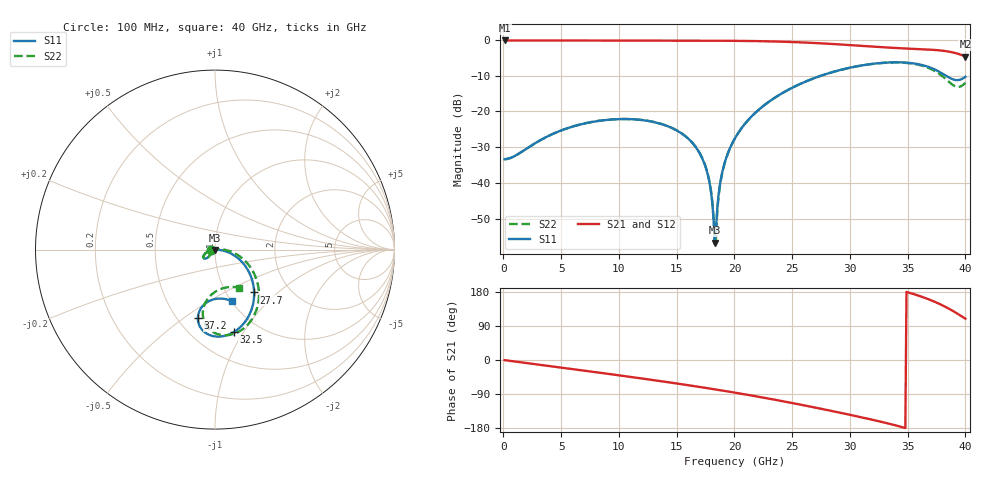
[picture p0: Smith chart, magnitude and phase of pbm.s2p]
! A_s4_d300_ap800: physics-based via model (prototype), ports at the via
# Hz S RI R 50
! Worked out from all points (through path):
!   400 points, 100 MHz to 40 GHz, reference 50 ohm
!   highest |S21| = -0.19 dB at 100 MHz (marker M1); lowest = -4.7 dB at 40 GHz (marker M2)
!   group delay of S21, straight-line fit = 15.4 ps
!   lowest |S11| = -56.6 dB at 18.3 GHz (marker M3), VSWR 1.00, Z = 50 - j0.142 ohm
!   |S11| at or under -10 dB: start of sweep to 27.52 GHz; 38.3 GHz to end of sweep
!   |S22| runs from -57.6 to -6.3 dB; largest |S21 - S12| = 0
!   S11 on the Smith chart (normalised r, x): 100 MHz: 0.96, -0.00; 27.7 GHz: 1.34, -0.71; 32.5 GHz: 0.77, -0.91; 37.2 GHz: 0.63, -0.57; 40 GHz: 1.01, -0.64
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1e8  -0.0215 -0.000937  0.9785 -0.00682  0.9785 -0.00682  -0.0215 -0.000946
6.8e9  -0.0463 -0.048  0.8677 -0.4474  0.8677 -0.4474  -0.0455 -0.049
1.34e10  -0.0619 -0.0299  0.5605 -0.7964  0.5605 -0.7964  -0.0612 -0.0319
1.57e10  -0.0438 -0.0135  0.4093 -0.8829  0.4093 -0.8829  -0.0438 -0.0144
1.72e10  -0.0219 -0.0048  0.2986 -0.9251  0.2986 -0.9251  -0.0223 -0.00414
1.77e10  -0.0127 -0.00285  0.2596 -0.9362  0.2596 -0.9362  -0.0132 -0.0015
1.8e10  -0.00672 -0.002  0.2358 -0.9421  0.2358 -0.9421  -0.00725 -0.000184
1.82e10  -0.00257 -0.00158  0.2197 -0.9457  0.2197 -0.9457  -0.0031 0.000565
1.83e10  -0.000437 -0.00142  0.2116 -0.9474  0.2116 -0.9474  -0.000969 0.000898
1.84e10  0.00173 -0.00129  0.2035 -0.949  0.2035 -0.949  0.0012 0.0012
1.86e10  0.00617 -0.00113  0.1871 -0.952  0.1871 -0.952  0.00565 0.00172
1.89e10  0.0131 -0.00116  0.1623 -0.9559  0.1623 -0.9559  0.0126 0.00225
1.94e10  0.0253 -0.00202  0.1202 -0.961  0.1202 -0.961  0.0249 0.00242
2.01e10  0.0436 -0.00511  0.0601 -0.9645  0.0601 -0.9645  0.0436 0.000931
2.27e10  0.1196 -0.0413  -0.171 -0.9374  -0.171 -0.9374  0.123 -0.0279
2.67e10  0.2117 -0.1881  -0.5032 -0.7534  -0.5032 -0.7534  0.2304 -0.164
2.77e10  0.218 -0.2389  -0.5704 -0.6817  -0.5704 -0.6817  0.2423 -0.2136
3.25e10  0.1035 -0.4604  -0.7526 -0.2506  -0.7526 -0.2506  0.1524 -0.4448
3.34e10  0.0589 -0.4793  -0.7607 -0.159  -0.7607 -0.159  0.1091 -0.468
3.72e10  -0.0955 -0.3827  -0.6587 0.3003  -0.6587 0.3003  -0.067 -0.3722
3.91e10  0.000221 -0.2754  -0.387 0.5288  -0.387 0.5288  0.0215 -0.2241
4e10  0.0957 -0.289  -0.1903 0.5518  -0.1903 0.5518  0.1337 -0.212
